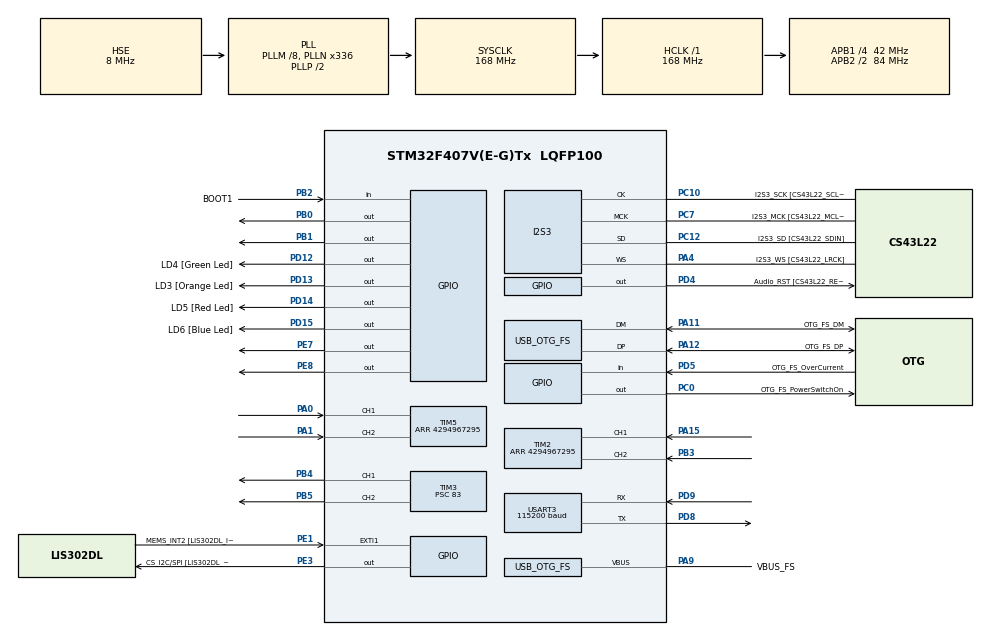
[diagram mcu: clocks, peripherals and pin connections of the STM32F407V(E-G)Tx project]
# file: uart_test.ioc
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I2S3.AudioFreq-Half_Duplex_Master=I2S_AUDIOFREQ_96K
I2S3.ErrorAudioFreq=-2.34 %
I2S3.ErrorAudioFreq-Half_Duplex_Master=0.8 %
I2S3.FullDuplexMode=I2S_FULLDUPLEXMODE_DISABLE
I2S3.Instance=SPI$Index
I2S3.RealAudioFreq=93.75 KHz
I2S3.RealAudioFreq-Half_Duplex_Master=96.774 KHz
I2S3.VirtualMode=I2S_MODE_MASTER
Mcu.Family=STM32F4
Mcu.Name=STM32F407V(E-G)Tx
Mcu.Package=LQFP100
NVIC.OTG_FS_IRQn=true\:0\:0\:false\:false\:true\:true\:true\:true
NVIC.PriorityGroup=NVIC_PRIORITYGROUP_0
NVIC.USART3_IRQn=true\:0\:0\:false\:false\:true\:true\:true\:true
PA0-WKUP.Signal=S_TIM5_CH1
PA1.Signal=S_TIM5_CH2
PA10.GPIO_Label=OTG_FS_ID
PA10.GPIO_Mode=GPIO_MODE_AF_PP
PA10.GPIO_PuPd=GPIO_NOPULL
PA10.GPIO_Speed=GPIO_SPEED_FREQ_LOW
PA10.Signal=USB_OTG_FS_ID
PA11.GPIO_Label=OTG_FS_DM
PA11.GPIO_Mode=GPIO_MODE_AF_PP
PA11.GPIO_PuPd=GPIO_NOPULL
PA11.GPIO_Speed=GPIO_SPEED_FREQ_LOW
PA11.Mode=Host_Only
PA11.Signal=USB_OTG_FS_DM
PA12.GPIO_Label=OTG_FS_DP
PA12.GPIO_Mode=GPIO_MODE_AF_PP
PA12.GPIO_PuPd=GPIO_NOPULL
PA12.GPIO_Speed=GPIO_SPEED_FREQ_LOW
PA12.Mode=Host_Only
PA12.Signal=USB_OTG_FS_DP
PA13.GPIO_Label=SWDIO
PA13.Mode=Serial_Wire
PA13.Signal=SYS_JTMS-SWDIO
PA14.GPIO_Label=SWCLK
PA14.Mode=Serial_Wire
PA14.Signal=SYS_JTCK-SWCLK
PA15.Signal=S_TIM2_CH1_ETR
PA4.GPIO_Label=I2S3_WS [CS43L22_LRCK]
PA4.GPIO_Mode=GPIO_MODE_AF_PP
PA4.GPIO_PuPd=GPIO_NOPULL
PA4.GPIO_Speed=GPIO_SPEED_FREQ_LOW
PA4.Mode=Half_Duplex_Master
PA4.Signal=I2S3_WS
PA5.GPIO_Label=SPI1_SCK [LIS302DL_SCL/SPC]
PA5.GPIO_Mode=GPIO_MODE_AF_PP
PA5.GPIO_PuPd=GPIO_NOPULL
PA5.GPIO_Speed=GPIO_SPEED_FREQ_LOW
PA5.Signal=SPI1_SCK
PA7.GPIO_Label=SPI1_MOSI [LIS302DL_SDA/SDI/SDO]
PA7.GPIO_Mode=GPIO_MODE_AF_PP
PA7.GPIO_PuPd=GPIO_NOPULL
PA7.GPIO_Speed=GPIO_SPEED_FREQ_LOW
PA7.Signal=SPI1_MOSI
PA9.GPIO_Label=VBUS_FS
PA9.GPIO_Mode=GPIO_MODE_INPUT
PA9.GPIO_PuPd=GPIO_NOPULL
PA9.Mode=Activate_VBUS
PA9.Signal=USB_OTG_FS_VBUS
PB0.Signal=GPIO_Output
PB1.Signal=GPIO_Output
PB10.GPIO_Label=CLK_IN [MP45DT02_CLK]
PB10.GPIO_Mode=GPIO_MODE_AF_PP
PB10.GPIO_PuPd=GPIO_NOPULL
PB10.GPIO_Speed=GPIO_SPEED_FREQ_LOW
PB10.Signal=I2S2_CK
PB2.GPIO_Label=BOOT1
PB2.GPIO_Mode=GPIO_MODE_INPUT
PB2.GPIO_PuPd=GPIO_NOPULL
PB2.Signal=GPIO_Input
PB3.Signal=S_TIM2_CH2
PB4.Signal=S_TIM3_CH1
PB5.Signal=S_TIM3_CH2
PC0.GPIO_Label=OTG_FS_PowerSwitchOn
PC0.GPIO_PuPd=GPIO_NOPULL
PC0.GPIO_Speed=GPIO_SPEED_FREQ_LOW
PC0.PinState=GPIO_PIN_SET
PC0.Signal=GPIO_Output
PC10.GPIO_Label=I2S3_SCK [CS43L22_SCLK]
PC10.GPIO_Mode=GPIO_MODE_AF_PP
PC10.GPIO_PuPd=GPIO_NOPULL
PC10.GPIO_Speed=GPIO_SPEED_FREQ_LOW
PC10.Mode=Half_Duplex_Master
PC10.Signal=I2S3_CK
PC12.GPIO_Label=I2S3_SD [CS43L22_SDIN]
PC12.GPIO_Mode=GPIO_MODE_AF_PP
PC12.GPIO_PuPd=GPIO_NOPULL
PC12.GPIO_Speed=GPIO_SPEED_FREQ_LOW
PC12.Mode=Half_Duplex_Master
PC12.Signal=I2S3_SD
PC14-OSC32_IN.GPIO_Label=PC14-OSC32_IN
PC14-OSC32_IN.Mode=LSE-External-Oscillator
PC14-OSC32_IN.Signal=RCC_OSC32_IN
PC15-OSC32_OUT.GPIO_Label=PC15-OSC32_OUT
PC15-OSC32_OUT.Mode=LSE-External-Oscillator
PC15-OSC32_OUT.Signal=RCC_OSC32_OUT
PC3.GPIO_Label=PDM_OUT [MP45DT02_DOUT]
PC3.GPIO_Mode=GPIO_MODE_AF_PP
PC3.GPIO_PuPd=GPIO_NOPULL
PC3.GPIO_Speed=GPIO_SPEED_FREQ_LOW
PC3.Signal=I2S2_SD
PC7.GPIO_Label=I2S3_MCK [CS43L22_MCLK]
PC7.GPIO_Mode=GPIO_MODE_AF_PP
PC7.GPIO_PuPd=GPIO_NOPULL
PC7.GPIO_Speed=GPIO_SPEED_FREQ_LOW
PC7.Mode=Master_Clock_Activated
PC7.Signal=I2S3_MCK
PD12.GPIO_Label=LD4 [Green Led]
PD12.GPIO_PuPd=GPIO_NOPULL
PD12.GPIO_Speed=GPIO_SPEED_FREQ_LOW
PD12.Signal=GPIO_Output
PD13.GPIO_Label=LD3 [Orange Led]
PD13.GPIO_PuPd=GPIO_NOPULL
PD13.GPIO_Speed=GPIO_SPEED_FREQ_LOW
PD13.Signal=GPIO_Output
PD14.GPIO_Label=LD5 [Red Led]
PD14.GPIO_PuPd=GPIO_NOPULL
PD14.GPIO_Speed=GPIO_SPEED_FREQ_LOW
PD14.Signal=GPIO_Output
PD15.GPIO_Label=LD6 [Blue Led]
PD15.GPIO_PuPd=GPIO_NOPULL
PD15.GPIO_Speed=GPIO_SPEED_FREQ_LOW
PD15.Signal=GPIO_Output
PD4.GPIO_Label=Audio_RST [CS43L22_RESET]
PD4.GPIO_PuPd=GPIO_NOPULL
PD4.GPIO_Speed=GPIO_SPEED_FREQ_LOW
PD4.Signal=GPIO_Output
PD5.GPIO_Label=OTG_FS_OverCurrent
PD5.GPIO_Mode=GPIO_MODE_INPUT
PD5.GPIO_PuPd=GPIO_NOPULL
PD5.Signal=GPIO_Input
PD8.Mode=Asynchronous
PD8.Signal=USART3_TX
PD9.Mode=Asynchronous
PD9.Signal=USART3_RX
PE1.GPIO_Label=MEMS_INT2 [LIS302DL_INT2]
PE1.GPIO_ModeDefaultEXTI=GPIO_MODE_EVT_RISING
PE1.GPIO_PuPd=GPIO_NOPULL
PE1.Signal=GPXTI1
PE3.GPIO_Label=CS_I2C/SPI [LIS302DL_CS_I2C/SPI]
PE3.GPIO_PuPd=GPIO_NOPULL
PE3.GPIO_Speed=GPIO_SPEED_FREQ_LOW
PE3.Signal=GPIO_Output
PE7.Signal=GPIO_Output
PE8.Signal=GPIO_Output
PH0-OSC_IN.GPIO_Label=PH0-OSC_IN
PH0-OSC_IN.Mode=HSE-External-Oscillator
PH0-OSC_IN.Signal=RCC_OSC_IN
PH1-OSC_OUT.GPIO_Label=PH1-OSC_OUT
PH1-OSC_OUT.Mode=HSE-External-Oscillator
PH1-OSC_OUT.Signal=RCC_OSC_OUT
ProjectManager.HeapSize=0x200
ProjectManager.StackSize=0x400
ProjectManager.TargetToolchain=STM32CubeIDE
RCC.48MHZClocksFreq_Value=48000000
RCC.AHBFreq_Value=168000000
RCC.APB1CLKDivider=RCC_HCLK_DIV4
RCC.APB1Freq_Value=42000000
RCC.APB1TimFreq_Value=84000000
RCC.APB2CLKDivider=RCC_HCLK_DIV2
RCC.APB2Freq_Value=84000000
RCC.APB2TimFreq_Value=168000000
RCC.CortexFreq_Value=168000000
RCC.HCLKFreq_Value=168000000
RCC.HSE_VALUE=8000000
RCC.HSI_VALUE=16000000
RCC.PLLM=8
RCC.PLLN=336
RCC.PLLQ=7
RCC.SYSCLKFreq_VALUE=168000000
RCC.SYSCLKSource=RCC_SYSCLKSOURCE_PLLCLK
RCC.VCOOutputFreq_Value=336000000
SH.S_TIM2_CH1_ETR.0=TIM2_CH1,Encoder_Interface
SH.S_TIM2_CH2.0=TIM2_CH2,Encoder_Interface
SH.S_TIM3_CH1.0=TIM3_CH1,PWM Generation1 CH1
SH.S_TIM3_CH2.0=TIM3_CH2,PWM Generation2 CH2
SH.S_TIM5_CH1.0=TIM5_CH1,Encoder_Interface
SH.S_TIM5_CH2.0=TIM5_CH2,Encoder_Interface
TIM2.EncoderMode=TIM_ENCODERMODE_TI12
TIM2.IC1Filter=4
TIM2.IC2Filter=4
TIM2.Period=4294967295
TIM3.Channel-PWM\ Generation1\ CH1=TIM_CHANNEL_1
TIM3.Channel-PWM\ Generation2\ CH2=TIM_CHANNEL_2
TIM3.ClockDivision=TIM_CLOCKDIVISION_DIV1
TIM3.CounterMode=TIM_COUNTERMODE_UP
TIM3.OCMode_PWM-PWM\ Generation1\ CH1=TIM_OCMODE_PWM1
TIM3.OCMode_PWM-PWM\ Generation2\ CH2=TIM_OCMODE_PWM1
TIM3.OCPolarity_1=TIM_OCPOLARITY_HIGH
TIM3.OCPolarity_2=TIM_OCPOLARITY_HIGH
TIM3.Period=999
TIM3.Prescaler=83
TIM3.Pulse-PWM\ Generation1\ CH1=0
TIM3.Pulse-PWM\ Generation2\ CH2=0
TIM5.EncoderMode=TIM_ENCODERMODE_TI12
TIM5.IC1Filter=4
TIM5.IC2Filter=4
TIM5.Period=4294967295
USART3.BaudRate=115200
USART3.Parity=PARITY_NONE
USART3.StopBits=STOPBITS_1
USART3.VirtualMode=VM_ASYNC
USART3.WordLength=WORDLENGTH_8B
USB_HOST.BSP.number=1
USB_HOST.USBH_HandleTypeDef-CDC_FS=hUsbHostFS
USB_HOST.VirtualModeFS=Cdc
USB_HOST0.BSP.STBoard=false
USB_HOST0.BSP.api=Unknown
USB_HOST0.BSP.instance=PC0
USB_HOST0.BSP.ip=GPIO
USB_HOST0.BSP.mode=Output
USB_HOST0.BSP.name=Drive_VBUS_FS
USB_HOST0.BSP.solution=PC0
USB_OTG_FS.VirtualMode=Host_Only
USB_OTG_FS.phy_itface=HCD_PHY_EMBEDDED
VP_TIM3_VS_ClockSourceINT.Mode=Internal
VP_USB_HOST_VS_USB_HOST_CDC_FS.Mode=CDC_FS
board=STM32F407G-DISC1

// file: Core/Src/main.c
/* USER CODE BEGIN Header */
	/**
	  ******************************************************************************
	  * @file           : main.c
	  * @brief          : Main program body
	  ******************************************************************************
	  * @attention
	  *
	  * Copyright (c) 2026 STMicroelectronics.
	  * All rights reserved.
	  *
	  * This software is licensed under terms that can be found in the LICENSE file
	  * in the root directory of this software component.
	  * If no LICENSE file comes with this software, it is provided AS-IS.
	  *
	  ******************************************************************************
	  */
/* USER CODE END Header */
#include "main.h"
#include "usb_host.h"

/* USER CODE BEGIN Includes */
#include <inttypes.h>
#include <stdio.h>
#include <string.h>
/* USER CODE END Includes */

/* USER CODE BEGIN PD */
#define ENCODER_TX_INTERVAL_MS 50U
#define ENCODER_COUNT_SIZE sizeof("-9223372036854775808")
#define MOTOR_TIMEOUT_MS 300U
#define COMMAND_BUFFER_SIZE 24U
#define STOP_NONE 0U
#define STOP_BUSY 1U
#define STOP_OVF 2U
#define STOP_UARTERR 3U
#define STOP_PARSE 4U
#define STOP_TIMEOUT 5U
/* USER CODE END PD */

I2S_HandleTypeDef hi2s3;

TIM_HandleTypeDef htim2;
TIM_HandleTypeDef htim3;
TIM_HandleTypeDef htim5;

UART_HandleTypeDef huart3;

/* USER CODE BEGIN PV */
static uint8_t rxByte;
static char rxLine[COMMAND_BUFFER_SIZE];
static char pendingCommand[COMMAND_BUFFER_SIZE];
static uint8_t rxLength;
static uint8_t discardLine;
static volatile uint8_t commandReady;
static volatile uint8_t stopRequested;
static volatile uint8_t stopReason;
static uint8_t lastSentStopReason;
static uint8_t previousCR;
static char encoderMessage[sizeof("ENC,,\r\n") + 2U * (ENCODER_COUNT_SIZE - 1U)];
static const char stopMessages[][sizeof("STOP,uarterr\r\n")] = {
  [STOP_BUSY]    = "STOP,busy\r\n",
  [STOP_OVF]     = "STOP,ovf\r\n",
  [STOP_UARTERR] = "STOP,uarterr\r\n",
  [STOP_PARSE]   = "STOP,parse\r\n",
  [STOP_TIMEOUT] = "STOP,timeout\r\n"
};
/* USER CODE END PV */

void SystemClock_Config(void);
static void MX_GPIO_Init(void);
static void MX_I2S3_Init(void);
static void MX_USART3_UART_Init(void);
static void MX_TIM3_Init(void);
static void MX_TIM2_Init(void);
static void MX_TIM5_Init(void);
void MX_USB_HOST_Process(void);

/* USER CODE BEGIN 0 */
static int readDuty(const char **text, int *value)
{
  const char *p = *text;
  int sign = 1;
  int number = 0;

  if (*p == '-')
  {
    sign = -1;
    ++p;
  }
  if (*p < '0' || *p > '9')
  {
    return 0;
  }

  while (*p >= '0' && *p <= '9')
  {
    number = number * 10 + (*p - '0');
    if (number > 100)
    {
      return 0;
    }
    ++p;
  }

  *text = p;
  *value = sign * number;
  return 1;
}

static int parseCommand(const char *text, int *left, int *right)
{
  if (text[0] != 'M' || text[1] != ',')
  {
    return 0;
  }

  text += 2;
  if (!readDuty(&text, left) || *text != ',')
  {
    return 0;
  }
  ++text;

  return readDuty(&text, right) && *text == '\0';
}

static void setMotor(uint32_t channel, GPIO_TypeDef *port,
                     uint16_t in1, uint16_t in2, int duty, int *previousDuty)
{
  if (duty == *previousDuty)
  {
    return;
  }

  if ((duty > 0) != (*previousDuty > 0) ||
      (duty < 0) != (*previousDuty < 0))
  {
    __HAL_TIM_SET_COMPARE(&htim3, channel, 0U);
    if (duty != 0 && *previousDuty != 0)
    {
      HAL_Delay(2U);
    }
    HAL_GPIO_WritePin(port, in1 | in2, GPIO_PIN_RESET);
    if (duty != 0)
    {
      HAL_GPIO_WritePin(port, duty > 0 ? in1 : in2, GPIO_PIN_SET);
    }
  }

  uint32_t percent = (uint32_t)(duty < 0 ? -duty : duty);
  uint32_t period = __HAL_TIM_GET_AUTORELOAD(&htim3) + 1U;
  __HAL_TIM_SET_COMPARE(&htim3, channel, period * percent / 100U);
  *previousDuty = duty;
}

static void setMotors(int left, int right)
{
  static int previousLeft;
  static int previousRight;
  setMotor(TIM_CHANNEL_1, GPIOB, GPIO_PIN_0, GPIO_PIN_1, left, &previousLeft);
  setMotor(TIM_CHANNEL_2, GPIOE, GPIO_PIN_7, GPIO_PIN_8, right, &previousRight);
}

static int32_t readEncoderDelta(TIM_HandleTypeDef *timer, uint32_t *previous)
{
  uint32_t current = __HAL_TIM_GET_COUNTER(timer);
  /* Subtract modulo 2^32, then interpret the step as signed on STM32. */
  int32_t delta = (int32_t)(current - *previous);
  *previous = current;
  return delta;
}

/* newlib-nano lacks %lld. Keep the remainder nonpositive to handle INT64_MIN. */
static char *formatEncoderCount(int64_t count, char text[ENCODER_COUNT_SIZE])
{
  int64_t remaining = count > 0 ? -count : count;
  char *p = text + ENCODER_COUNT_SIZE - 1U;
  *p = '\0';
  do
  {
    *--p = (char)('0' - remaining % 10);
    remaining /= 10;
  } while (remaining != 0);
  if (count < 0)
  {
    *--p = '-';
  }
  return p;
}

static void sendEncoder(void)
{
  static uint32_t previousLeft, previousRight;
  static int64_t left, right;
  left += readEncoderDelta(&htim5, &previousLeft);
  right += readEncoderDelta(&htim2, &previousRight);
  if (huart3.gState != HAL_UART_STATE_READY)
  {
    return;
  }
  char leftText[ENCODER_COUNT_SIZE], rightText[ENCODER_COUNT_SIZE];
  int length = snprintf(encoderMessage, sizeof(encoderMessage), "ENC,%s,%s\r\n",
                        formatEncoderCount(left, leftText), formatEncoderCount(right, rightText));

  if (length > 0 && (size_t)length < sizeof(encoderMessage))
  {
    HAL_UART_Transmit_IT(&huart3, (uint8_t *)encoderMessage, (uint16_t)length);
  }
}
/* USER CODE END 0 */

int main(void)
{

  /* MCU Configuration--------------------------------------------------------*/

  /* Reset of all peripherals, Initializes the Flash interface and the Systick. */
  HAL_Init();

  /* Configure the system clock */
  SystemClock_Config();

  /* Initialize all configured peripherals */
  MX_GPIO_Init();
  MX_I2S3_Init();
  MX_USB_HOST_Init();
  MX_USART3_UART_Init();
  MX_TIM3_Init();
  MX_TIM2_Init();
  MX_TIM5_Init();
  /* USER CODE BEGIN 2 */
  __HAL_TIM_SET_COMPARE(&htim3, TIM_CHANNEL_1, 0U);
  __HAL_TIM_SET_COMPARE(&htim3, TIM_CHANNEL_2, 0U);
  if (HAL_TIM_Encoder_Start(&htim5, TIM_CHANNEL_ALL) != HAL_OK ||
      HAL_TIM_Encoder_Start(&htim2, TIM_CHANNEL_ALL) != HAL_OK ||
      HAL_TIM_PWM_Start(&htim3, TIM_CHANNEL_1) != HAL_OK ||
      HAL_TIM_PWM_Start(&htim3, TIM_CHANNEL_2) != HAL_OK ||
      HAL_UART_Receive_IT(&huart3, &rxByte, 1U) != HAL_OK)
  {
    Error_Handler();
  }

  uint32_t lastCommand = HAL_GetTick();
  uint32_t lastEncoder = lastCommand - ENCODER_TX_INTERVAL_MS;
  /* USER CODE END 2 */

  /* Infinite loop */
  while (1)
  {
    MX_USB_HOST_Process();

    /* USER CODE BEGIN 3 */
    uint32_t now = HAL_GetTick();

    if (stopRequested)
    {
      uint32_t irqState = __get_PRIMASK();
      __disable_irq();
      commandReady = 0U;
      stopRequested = 0U;
      __set_PRIMASK(irqState);
      setMotors(0, 0);
    }

    if (commandReady)
    {
      char command[COMMAND_BUFFER_SIZE];
      uint32_t irqState = __get_PRIMASK();
      __disable_irq();
      memcpy(command, pendingCommand, sizeof(command));
      commandReady = 0;
      __set_PRIMASK(irqState);

      int left;
      int right;
      if (parseCommand(command, &left, &right))
      {
        setMotors(left, right);
        lastCommand = now;
        lastSentStopReason = STOP_NONE;
      }
      else
      {
        setMotors(0, 0);
        stopReason = STOP_PARSE;
      }
    }

    if (now - lastCommand >= MOTOR_TIMEOUT_MS)
    {
      setMotors(0, 0);
      if (lastSentStopReason != STOP_TIMEOUT)
      {
        uint32_t irqState = __get_PRIMASK();
        __disable_irq();
        if (stopReason == STOP_NONE)
        {
          stopReason = STOP_TIMEOUT;
        }
        __set_PRIMASK(irqState);
      }
    }

    if (now - lastEncoder >= ENCODER_TX_INTERVAL_MS)
    {
      lastEncoder = now;
      sendEncoder();
    }
    if (stopReason != STOP_NONE && huart3.gState == HAL_UART_STATE_READY)
    {
      /* Keep an RX interrupt from replacing the reason between enqueue and clear. */
      uint32_t irqState = __get_PRIMASK();
      __disable_irq();
      uint8_t reason = stopReason;
      const char *message = stopMessages[reason];
      if (HAL_UART_Transmit_IT(&huart3, (const uint8_t *)message,
                               (uint16_t)strlen(message)) == HAL_OK)
      {
        lastSentStopReason = reason;
        stopReason = STOP_NONE;
      }
      __set_PRIMASK(irqState);
    }
  }
  /* USER CODE END 3 */
}

void SystemClock_Config(void)
{
  RCC_OscInitTypeDef RCC_OscInitStruct = {0};
  RCC_ClkInitTypeDef RCC_ClkInitStruct = {0};

  /** Configure the main internal regulator output voltage
  */
  __HAL_RCC_PWR_CLK_ENABLE();
  __HAL_PWR_VOLTAGESCALING_CONFIG(PWR_REGULATOR_VOLTAGE_SCALE1);

  /** Initializes the RCC Oscillators according to the specified parameters
  * in the RCC_OscInitTypeDef structure.
  */
  RCC_OscInitStruct.OscillatorType = RCC_OSCILLATORTYPE_HSE;
  RCC_OscInitStruct.HSEState = RCC_HSE_ON;
  RCC_OscInitStruct.PLL.PLLState = RCC_PLL_ON;
  RCC_OscInitStruct.PLL.PLLSource = RCC_PLLSOURCE_HSE;
  RCC_OscInitStruct.PLL.PLLM = 8;
  RCC_OscInitStruct.PLL.PLLN = 336;
  RCC_OscInitStruct.PLL.PLLP = RCC_PLLP_DIV2;
  RCC_OscInitStruct.PLL.PLLQ = 7;
  if (HAL_RCC_OscConfig(&RCC_OscInitStruct) != HAL_OK)
  {
    Error_Handler();
  }

  /** Initializes the CPU, AHB and APB buses clocks
  */
  RCC_ClkInitStruct.ClockType = RCC_CLOCKTYPE_HCLK|RCC_CLOCKTYPE_SYSCLK
                              |RCC_CLOCKTYPE_PCLK1|RCC_CLOCKTYPE_PCLK2;
  RCC_ClkInitStruct.SYSCLKSource = RCC_SYSCLKSOURCE_PLLCLK;
  RCC_ClkInitStruct.AHBCLKDivider = RCC_SYSCLK_DIV1;
  RCC_ClkInitStruct.APB1CLKDivider = RCC_HCLK_DIV4;
  RCC_ClkInitStruct.APB2CLKDivider = RCC_HCLK_DIV2;

  if (HAL_RCC_ClockConfig(&RCC_ClkInitStruct, FLASH_LATENCY_5) != HAL_OK)
  {
    Error_Handler();
  }
}

static void MX_I2S3_Init(void)
{

  hi2s3.Instance = SPI3;
  hi2s3.Init.Mode = I2S_MODE_MASTER_TX;
  hi2s3.Init.Standard = I2S_STANDARD_PHILIPS;
  hi2s3.Init.DataFormat = I2S_DATAFORMAT_16B;
  hi2s3.Init.MCLKOutput = I2S_MCLKOUTPUT_ENABLE;
  hi2s3.Init.AudioFreq = I2S_AUDIOFREQ_96K;
  hi2s3.Init.CPOL = I2S_CPOL_LOW;
  hi2s3.Init.ClockSource = I2S_CLOCK_PLL;
  hi2s3.Init.FullDuplexMode = I2S_FULLDUPLEXMODE_DISABLE;
  if (HAL_I2S_Init(&hi2s3) != HAL_OK)
  {
    Error_Handler();
  }

}

static void MX_TIM2_Init(void)
{

  TIM_Encoder_InitTypeDef sConfig = {0};
  TIM_MasterConfigTypeDef sMasterConfig = {0};

  htim2.Instance = TIM2;
  htim2.Init.Prescaler = 0;
  htim2.Init.CounterMode = TIM_COUNTERMODE_UP;
  htim2.Init.Period = 4294967295;
  htim2.Init.ClockDivision = TIM_CLOCKDIVISION_DIV1;
  htim2.Init.AutoReloadPreload = TIM_AUTORELOAD_PRELOAD_DISABLE;
  sConfig.EncoderMode = TIM_ENCODERMODE_TI12;
  sConfig.IC1Polarity = TIM_ICPOLARITY_RISING;
  sConfig.IC1Selection = TIM_ICSELECTION_DIRECTTI;
  sConfig.IC1Prescaler = TIM_ICPSC_DIV1;
  sConfig.IC1Filter = 4;
  sConfig.IC2Polarity = TIM_ICPOLARITY_RISING;
  sConfig.IC2Selection = TIM_ICSELECTION_DIRECTTI;
  sConfig.IC2Prescaler = TIM_ICPSC_DIV1;
  sConfig.IC2Filter = 4;
  if (HAL_TIM_Encoder_Init(&htim2, &sConfig) != HAL_OK)
  {
    Error_Handler();
  }
  sMasterConfig.MasterOutputTrigger = TIM_TRGO_RESET;
  sMasterConfig.MasterSlaveMode = TIM_MASTERSLAVEMODE_DISABLE;
  if (HAL_TIMEx_MasterConfigSynchronization(&htim2, &sMasterConfig) != HAL_OK)
  {
    Error_Handler();
  }

}

static void MX_TIM3_Init(void)
{

  TIM_ClockConfigTypeDef sClockSourceConfig = {0};
  TIM_MasterConfigTypeDef sMasterConfig = {0};
  TIM_OC_InitTypeDef sConfigOC = {0};

  htim3.Instance = TIM3;
  htim3.Init.Prescaler = 83;
  htim3.Init.CounterMode = TIM_COUNTERMODE_UP;
  htim3.Init.Period = 999;
  htim3.Init.ClockDivision = TIM_CLOCKDIVISION_DIV1;
  htim3.Init.AutoReloadPreload = TIM_AUTORELOAD_PRELOAD_DISABLE;
  if (HAL_TIM_Base_Init(&htim3) != HAL_OK)
  {
    Error_Handler();
  }
  sClockSourceConfig.ClockSource = TIM_CLOCKSOURCE_INTERNAL;
  if (HAL_TIM_ConfigClockSource(&htim3, &sClockSourceConfig) != HAL_OK)
  {
    Error_Handler();
  }
  if (HAL_TIM_PWM_Init(&htim3) != HAL_OK)
  {
    Error_Handler();
  }
  sMasterConfig.MasterOutputTrigger = TIM_TRGO_RESET;
  sMasterConfig.MasterSlaveMode = TIM_MASTERSLAVEMODE_DISABLE;
  if (HAL_TIMEx_MasterConfigSynchronization(&htim3, &sMasterConfig) != HAL_OK)
  {
    Error_Handler();
  }
  sConfigOC.OCMode = TIM_OCMODE_PWM1;
  sConfigOC.Pulse = 0;
  sConfigOC.OCPolarity = TIM_OCPOLARITY_HIGH;
  sConfigOC.OCFastMode = TIM_OCFAST_DISABLE;
  if (HAL_TIM_PWM_ConfigChannel(&htim3, &sConfigOC, TIM_CHANNEL_1) != HAL_OK)
  {
    Error_Handler();
  }
  if (HAL_TIM_PWM_ConfigChannel(&htim3, &sConfigOC, TIM_CHANNEL_2) != HAL_OK)
  {
    Error_Handler();
  }
  HAL_TIM_MspPostInit(&htim3);

}

static void MX_TIM5_Init(void)
{

  TIM_Encoder_InitTypeDef sConfig = {0};
  TIM_MasterConfigTypeDef sMasterConfig = {0};

  htim5.Instance = TIM5;
  htim5.Init.Prescaler = 0;
  htim5.Init.CounterMode = TIM_COUNTERMODE_UP;
  htim5.Init.Period = 4294967295;
  htim5.Init.ClockDivision = TIM_CLOCKDIVISION_DIV1;
  htim5.Init.AutoReloadPreload = TIM_AUTORELOAD_PRELOAD_DISABLE;
  sConfig.EncoderMode = TIM_ENCODERMODE_TI12;
  sConfig.IC1Polarity = TIM_ICPOLARITY_RISING;
  sConfig.IC1Selection = TIM_ICSELECTION_DIRECTTI;
  sConfig.IC1Prescaler = TIM_ICPSC_DIV1;
  sConfig.IC1Filter = 4;
  sConfig.IC2Polarity = TIM_ICPOLARITY_RISING;
  sConfig.IC2Selection = TIM_ICSELECTION_DIRECTTI;
  sConfig.IC2Prescaler = TIM_ICPSC_DIV1;
  sConfig.IC2Filter = 4;
  if (HAL_TIM_Encoder_Init(&htim5, &sConfig) != HAL_OK)
  {
    Error_Handler();
  }
  sMasterConfig.MasterOutputTrigger = TIM_TRGO_RESET;
  sMasterConfig.MasterSlaveMode = TIM_MASTERSLAVEMODE_DISABLE;
  if (HAL_TIMEx_MasterConfigSynchronization(&htim5, &sMasterConfig) != HAL_OK)
  {
    Error_Handler();
  }

}

static void MX_USART3_UART_Init(void)
{

  huart3.Instance = USART3;
  huart3.Init.BaudRate = 115200;
  huart3.Init.WordLength = UART_WORDLENGTH_8B;
  huart3.Init.StopBits = UART_STOPBITS_1;
  huart3.Init.Parity = UART_PARITY_NONE;
  huart3.Init.Mode = UART_MODE_TX_RX;
  huart3.Init.HwFlowCtl = UART_HWCONTROL_NONE;
  huart3.Init.OverSampling = UART_OVERSAMPLING_16;
  if (HAL_UART_Init(&huart3) != HAL_OK)
  {
    Error_Handler();
  }

}

static void MX_GPIO_Init(void)
{
  GPIO_InitTypeDef GPIO_InitStruct = {0};

  /* GPIO Ports Clock Enable */
  __HAL_RCC_GPIOE_CLK_ENABLE();
  __HAL_RCC_GPIOC_CLK_ENABLE();
  __HAL_RCC_GPIOH_CLK_ENABLE();
  __HAL_RCC_GPIOA_CLK_ENABLE();
  __HAL_RCC_GPIOB_CLK_ENABLE();
  __HAL_RCC_GPIOD_CLK_ENABLE();

  /*Configure GPIO pin Output Level */
  HAL_GPIO_WritePin(GPIOE, CS_I2C_SPI_Pin|GPIO_PIN_7|GPIO_PIN_8, GPIO_PIN_RESET);

  /*Configure GPIO pin Output Level */
  HAL_GPIO_WritePin(OTG_FS_PowerSwitchOn_GPIO_Port, OTG_FS_PowerSwitchOn_Pin, GPIO_PIN_SET);

  /*Configure GPIO pin Output Level */
  HAL_GPIO_WritePin(GPIOB, GPIO_PIN_0|GPIO_PIN_1, GPIO_PIN_RESET);

  /*Configure GPIO pin Output Level */
  HAL_GPIO_WritePin(GPIOD, LD4_Pin|LD3_Pin|LD5_Pin|LD6_Pin
                          |Audio_RST_Pin, GPIO_PIN_RESET);

  /*Configure GPIO pins : CS_I2C_SPI_Pin PE7 PE8 */
  GPIO_InitStruct.Pin = CS_I2C_SPI_Pin|GPIO_PIN_7|GPIO_PIN_8;
  GPIO_InitStruct.Mode = GPIO_MODE_OUTPUT_PP;
  GPIO_InitStruct.Pull = GPIO_NOPULL;
  GPIO_InitStruct.Speed = GPIO_SPEED_FREQ_LOW;
  HAL_GPIO_Init(GPIOE, &GPIO_InitStruct);

  /*Configure GPIO pin : OTG_FS_PowerSwitchOn_Pin */
  GPIO_InitStruct.Pin = OTG_FS_PowerSwitchOn_Pin;
  GPIO_InitStruct.Mode = GPIO_MODE_OUTPUT_PP;
  GPIO_InitStruct.Pull = GPIO_NOPULL;
  GPIO_InitStruct.Speed = GPIO_SPEED_FREQ_LOW;
  HAL_GPIO_Init(OTG_FS_PowerSwitchOn_GPIO_Port, &GPIO_InitStruct);

  /*Configure GPIO pin : PDM_OUT_Pin */
  GPIO_InitStruct.Pin = PDM_OUT_Pin;
  GPIO_InitStruct.Mode = GPIO_MODE_AF_PP;
  GPIO_InitStruct.Pull = GPIO_NOPULL;
  GPIO_InitStruct.Speed = GPIO_SPEED_FREQ_LOW;
  GPIO_InitStruct.Alternate = GPIO_AF5_SPI2;
  HAL_GPIO_Init(PDM_OUT_GPIO_Port, &GPIO_InitStruct);

  /*Configure GPIO pins : SPI1_SCK_Pin SPI1_MOSI_Pin */
  GPIO_InitStruct.Pin = SPI1_SCK_Pin|SPI1_MOSI_Pin;
  GPIO_InitStruct.Mode = GPIO_MODE_AF_PP;
  GPIO_InitStruct.Pull = GPIO_NOPULL;
  GPIO_InitStruct.Speed = GPIO_SPEED_FREQ_LOW;
  GPIO_InitStruct.Alternate = GPIO_AF5_SPI1;
  HAL_GPIO_Init(GPIOA, &GPIO_InitStruct);

  /*Configure GPIO pins : PB0 PB1 */
  GPIO_InitStruct.Pin = GPIO_PIN_0|GPIO_PIN_1;
  GPIO_InitStruct.Mode = GPIO_MODE_OUTPUT_PP;
  GPIO_InitStruct.Pull = GPIO_NOPULL;
  GPIO_InitStruct.Speed = GPIO_SPEED_FREQ_LOW;
  HAL_GPIO_Init(GPIOB, &GPIO_InitStruct);

  /*Configure GPIO pin : BOOT1_Pin */
  GPIO_InitStruct.Pin = BOOT1_Pin;
  GPIO_InitStruct.Mode = GPIO_MODE_INPUT;
  GPIO_InitStruct.Pull = GPIO_NOPULL;
  HAL_GPIO_Init(BOOT1_GPIO_Port, &GPIO_InitStruct);

  /*Configure GPIO pin : CLK_IN_Pin */
  GPIO_InitStruct.Pin = CLK_IN_Pin;
  GPIO_InitStruct.Mode = GPIO_MODE_AF_PP;
  GPIO_InitStruct.Pull = GPIO_NOPULL;
  GPIO_InitStruct.Speed = GPIO_SPEED_FREQ_LOW;
  GPIO_InitStruct.Alternate = GPIO_AF5_SPI2;
  HAL_GPIO_Init(CLK_IN_GPIO_Port, &GPIO_InitStruct);

  /*Configure GPIO pins : LD4_Pin LD3_Pin LD5_Pin LD6_Pin
                           Audio_RST_Pin */
  GPIO_InitStruct.Pin = LD4_Pin|LD3_Pin|LD5_Pin|LD6_Pin
                          |Audio_RST_Pin;
  GPIO_InitStruct.Mode = GPIO_MODE_OUTPUT_PP;
  GPIO_InitStruct.Pull = GPIO_NOPULL;
  GPIO_InitStruct.Speed = GPIO_SPEED_FREQ_LOW;
  HAL_GPIO_Init(GPIOD, &GPIO_InitStruct);

  /*Configure GPIO pin : OTG_FS_OverCurrent_Pin */
  GPIO_InitStruct.Pin = OTG_FS_OverCurrent_Pin;
  GPIO_InitStruct.Mode = GPIO_MODE_INPUT;
  GPIO_InitStruct.Pull = GPIO_NOPULL;
  HAL_GPIO_Init(OTG_FS_OverCurrent_GPIO_Port, &GPIO_InitStruct);

  /*Configure GPIO pin : MEMS_INT2_Pin */
  GPIO_InitStruct.Pin = MEMS_INT2_Pin;
  GPIO_InitStruct.Mode = GPIO_MODE_EVT_RISING;
  GPIO_InitStruct.Pull = GPIO_NOPULL;
  HAL_GPIO_Init(MEMS_INT2_GPIO_Port, &GPIO_InitStruct);

}

/* USER CODE BEGIN 4 */
void HAL_UART_RxCpltCallback(UART_HandleTypeDef *huart)
{
  if (huart->Instance != USART3)
  {
    return;
  }

  if (rxByte == '\r' || rxByte == '\n')
  {
    if (!(rxByte == '\n' && previousCR))
    {
      if (discardLine || rxLength == 0U || commandReady || stopRequested)
      {
        stopRequested = 1U;
        stopReason = STOP_BUSY;
      }
      else
      {
        rxLine[rxLength] = '\0';
        memcpy(pendingCommand, rxLine, rxLength + 1U);
        commandReady = 1U;
      }
    }
    previousCR = (rxByte == '\r');
    rxLength = 0U;
    discardLine = 0U;
  }
  else
  {
    previousCR = 0U;
    if (!discardLine)
    {
      if (rxByte == '\0' || rxLength >= sizeof(rxLine) - 1U)
      {
        discardLine = 1U;
        stopRequested = 1U;
        stopReason = STOP_OVF;
      }
      else
      {
        rxLine[rxLength++] = (char)rxByte;
      }
    }
  }

  if (HAL_UART_Receive_IT(huart, &rxByte, 1U) != HAL_OK)
  {
    stopRequested = 1U;
  }
}

void HAL_UART_ErrorCallback(UART_HandleTypeDef *huart)
{
  if (huart->Instance == USART3)
  {
    stopRequested = 1U;
    stopReason = STOP_UARTERR;
    rxLength = 0U;
    discardLine = 1U;
    previousCR = 0U;
    HAL_UART_AbortReceive(huart);
    if (HAL_UART_Receive_IT(huart, &rxByte, 1U) != HAL_OK)
    {
      Error_Handler();
    }
  }
}
/* USER CODE END 4 */

void Error_Handler(void)
{
  /* USER CODE BEGIN Error_Handler_Debug */
  __HAL_RCC_TIM3_CLK_ENABLE();
  TIM3->CCR1 = 0U;
  TIM3->CCR2 = 0U;
  TIM3->CCER = 0U;
	  /* User can add his own implementation to report the HAL error return state */
	  __disable_irq();
	  while (1)
	  {
	  }
  /* USER CODE END Error_Handler_Debug */
}
